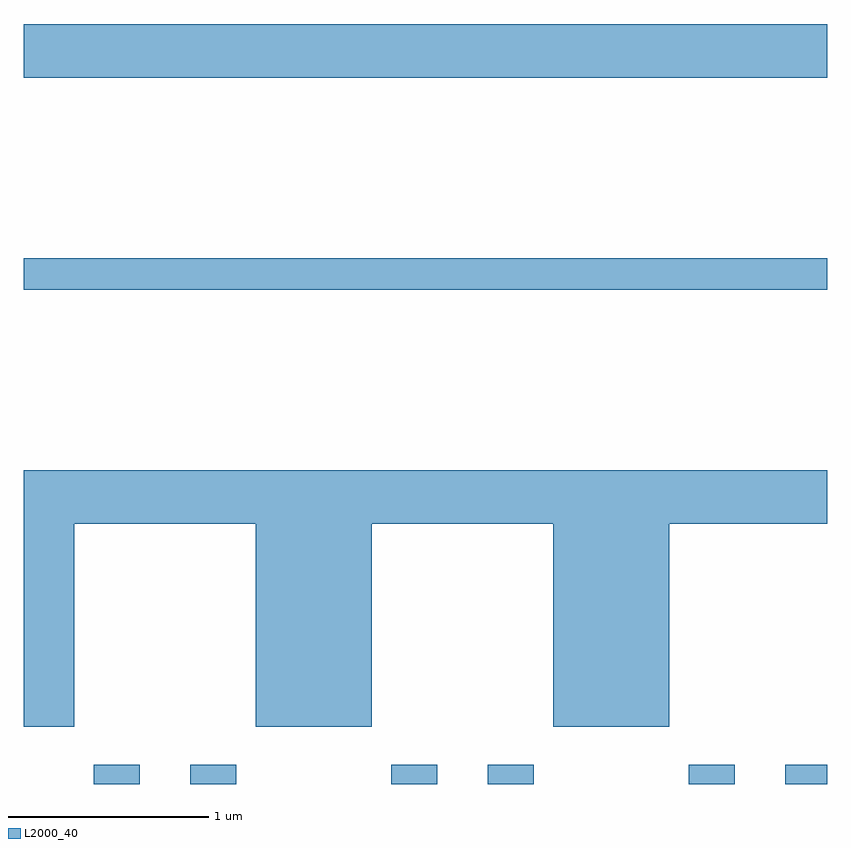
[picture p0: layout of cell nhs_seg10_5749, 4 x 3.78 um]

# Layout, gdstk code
import gdstk
lib = gdstk.Library(unit=1e-6, precision=1e-09)
def R(c, l, rs):  # rectangles x0, y0, x1, y1
    for r in rs: c.add(gdstk.rectangle(r[:2], r[2:], *l))
def P(c, l, *ps):  # polygons
    for p in ps: c.add(gdstk.Polygon(p, *l))
L2000_40 = (2000, 40)

nhs_seg10_5749 = lib.new_cell('nhs_seg10_5749')
R(nhs_seg10_5749, L2000_40, [(353.961,2212.522,354.189,2212.619), (354.441,2212.522,354.669,2212.619), (355.441,2212.522,355.669,2212.619), (355.921,2212.522,356.149,2212.619), (356.921,2212.522,357.149,2212.619), (357.401,2212.522,357.611,2212.619), (353.611,2214.981,357.611,2215.139), (353.611,2216.036,357.611,2216.304)])
P(nhs_seg10_5749, L2000_40, [(353.864,2213.816),(354.766,2213.816),(354.766,2212.806),(355.344,2212.806),(355.344,2213.816),(356.246,2213.816),(356.246,2212.806),(356.824,2212.806),(356.824,2213.816),(357.611,2213.816),(357.611,2214.084),(353.611,2214.084),(353.611,2212.806),(353.864,2212.806)])

lib.write_gds('nhs_seg10_5749.gds')
